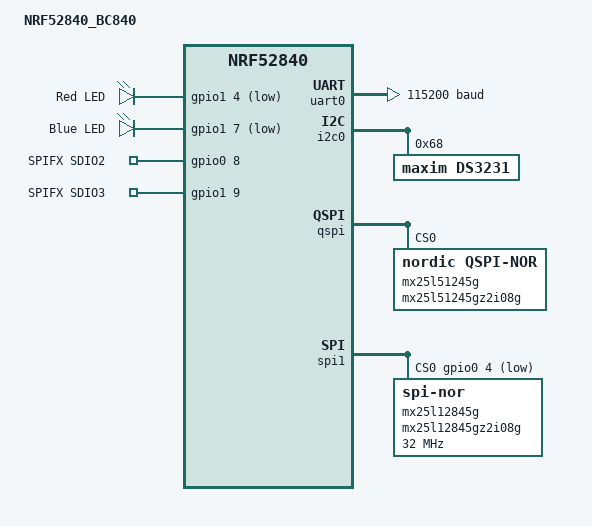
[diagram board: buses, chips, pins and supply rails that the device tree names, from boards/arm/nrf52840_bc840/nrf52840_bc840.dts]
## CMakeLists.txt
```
# SPDX-License-Identifier: Apache-2.0

cmake_minimum_required(VERSION 3.20.0)
find_package(Zephyr REQUIRED HINTS $ENV{ZEPHYR_BASE})
project(littlefs)

target_sources(app PRIVATE 
    src/main.c
    src/nor_flash.c
    src/ds3231.c
    LittleFS/lfs.c
    LittleFS/lfs_util.c
)

target_include_directories(app PRIVATE LittleFS src)

target_compile_definitions(app PRIVATE
    LFS_NO_DEBUG
    LFS_NO_WARN
    LFS_NO_ERROR
)
```

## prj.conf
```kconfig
# Enable SPI
CONFIG_SPI=y

# Enable I2C for DS3231 RTC
CONFIG_I2C=y

# Basic SPI configuration
CONFIG_SPI_ASYNC=y

# Enable GPIO
CONFIG_GPIO=y
CONFIG_GPIO_AS_PINRESET=n

# Clock configuration - external 32kHz crystal from DS3231
CONFIG_CLOCK_CONTROL_NRF_K32SRC_EXT_FULL_SWING=y
CONFIG_CLOCK_CONTROL_NRF_K32SRC_20PPM=y

# Make sure printk is printing to the UART console
CONFIG_CONSOLE=y

# Disable Zephyr's built-in LittleFS since we're using local LittleFS
CONFIG_FILE_SYSTEM=n
CONFIG_FILE_SYSTEM_MKFS=n
CONFIG_FILE_SYSTEM_LITTLEFS=n

# Enable Zephyr flash subsystem for QSPI flash (Flash2)
CONFIG_FLASH=y
CONFIG_FLASH_MAP=n
CONFIG_FLASH_PAGE_LAYOUT=y

# Enable Nordic QSPI NOR driver
CONFIG_NORDIC_QSPI_NOR=y

CONFIG_FPU=y
CONFIG_CBPRINTF_FP_SUPPORT=y

# Enable RTT
CONFIG_USE_SEGGER_RTT=y
CONFIG_RTT_CONSOLE=y
CONFIG_UART_CONSOLE=n

# Enable logging with immediate processing
CONFIG_LOG=y
CONFIG_LOG_BACKEND_RTT=y
CONFIG_LOG_PRINTK=y
CONFIG_LOG_DEFAULT_LEVEL=3
CONFIG_LOG_MODE_IMMEDIATE=y

# Reduce debug noise
CONFIG_SPI_LOG_LEVEL_WRN=y

# Small RTT Buffer - minimal but functional
CONFIG_SEGGER_RTT_BUFFER_SIZE_UP=2048

# Memory configuration
CONFIG_MAIN_STACK_SIZE=4096
CONFIG_HEAP_MEM_POOL_SIZE=4096
CONFIG_SYSTEM_WORKQUEUE_STACK_SIZE=1024

# Enable time functions for struct tm
CONFIG_NEWLIB_LIBC=y
CONFIG_NEWLIB_LIBC_FLOAT_PRINTF=y

# Allow SPIM driver (nRF52840 doesn't have PAN-58, but keep for compatibility)
# CONFIG_SOC_NRF52832_ALLOW_SPIM_DESPITE_PAN_58=y
```

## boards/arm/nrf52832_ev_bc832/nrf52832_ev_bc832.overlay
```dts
/*
 * Device Tree Overlay for Macronix MX25L51245GZ2I-08G NOR Flash
 * boards/nrf52832_ev_bc832.overlay
 */

&pinctrl {
	spi0_flash: spi0_flash {
		group1 {
			psels = <NRF_PSEL(SPIM_SCK, 0, 25)>,
				<NRF_PSEL(SPIM_MOSI, 0, 23)>,
				<NRF_PSEL(SPIM_MISO, 0, 24)>;
		};
	};

	spi0_flash_sleep: spi0_flash_sleep {
		group1 {
			psels = <NRF_PSEL(SPIM_SCK, 0, 25)>,
				<NRF_PSEL(SPIM_MOSI, 0, 23)>,
				<NRF_PSEL(SPIM_MISO, 0, 24)>;
			low-power-enable;
		};
	};
};

&spi0 {
    compatible = "nordic,nrf-spim";
	status = "okay";
	pinctrl-0 = <&spi0_flash>;
	pinctrl-1 = <&spi0_flash_sleep>;
	pinctrl-names = "default", "sleep";

    cs-gpios = <&gpio0 22 GPIO_ACTIVE_LOW>;
};

/*
 * I2C Configuration for DS3231 RTC
 * Adjust pin numbers according to your hardware connection
 */

&pinctrl {
	i2c0_default: i2c0_default {
		group1 {
			psels = <NRF_PSEL(TWIM_SDA, 0, 26)>,
				<NRF_PSEL(TWIM_SCL, 0, 27)>;
		};
	};

	i2c0_sleep: i2c0_sleep {
		group1 {
			psels = <NRF_PSEL(TWIM_SDA, 0, 26)>,
				<NRF_PSEL(TWIM_SCL, 0, 27)>;
			low-power-enable;
		};
	};
};

&i2c0 {
	compatible = "nordic,nrf-twi";
	status = "okay";
	pinctrl-0 = <&i2c0_default>;
	pinctrl-1 = <&i2c0_sleep>;
	pinctrl-names = "default", "sleep";
	clock-frequency = <I2C_BITRATE_FAST>;  /* 400kHz */

	ds3231: ds3231@68 {
		compatible = "maxim,ds3231";
		reg = <0x68>;
		label = "DS3231";
	};
};
```

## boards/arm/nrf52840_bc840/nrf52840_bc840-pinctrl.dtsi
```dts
/*
 * Copyright (c) 2024 Nordic Semiconductor
 * SPDX-License-Identifier: Apache-2.0
 */

&pinctrl {
	/* QSPI pins for mx25l51245gz2i-08g (64MB) */
	qspi_default: qspi_default {
		group1 {
			psels = <NRF_PSEL(QSPI_SCK, 0, 19)>,
				<NRF_PSEL(QSPI_IO0, 1, 1)>,
				<NRF_PSEL(QSPI_IO1, 0, 17)>,
				<NRF_PSEL(QSPI_IO2, 0, 25)>,
				<NRF_PSEL(QSPI_IO3, 0, 22)>,
				<NRF_PSEL(QSPI_CSN, 0, 15)>;
		};
	};

	qspi_sleep: qspi_sleep {
		group1 {
			psels = <NRF_PSEL(QSPI_SCK, 0, 19)>,
				<NRF_PSEL(QSPI_IO0, 1, 1)>,
				<NRF_PSEL(QSPI_IO1, 0, 17)>,
				<NRF_PSEL(QSPI_IO2, 0, 25)>,
				<NRF_PSEL(QSPI_IO3, 0, 22)>,
				<NRF_PSEL(QSPI_CSN, 0, 15)>;
			low-power-enable;
		};
	};

	/* SPIFX pins for mx25l12845gz2i-08g (16MB) - also QSPI mode */
	/* Note: nRF52840 has only one hardware QSPI peripheral, so we use SPI in quad mode */
	spi1_default: spi1_default {
		group1 {
			psels = <NRF_PSEL(SPIM_SCK, 0, 7)>,
				<NRF_PSEL(SPIM_MOSI, 0, 6)>,
				<NRF_PSEL(SPIM_MISO, 0, 12)>;
		};
	};

	spi1_sleep: spi1_sleep {
		group1 {
			psels = <NRF_PSEL(SPIM_SCK, 0, 7)>,
				<NRF_PSEL(SPIM_MOSI, 0, 6)>,
				<NRF_PSEL(SPIM_MISO, 0, 12)>;
			low-power-enable;
		};
	};

	uart0_default: uart0_default {
		group1 {
			psels = <NRF_PSEL(UART_TX, 0, 11)>,
				<NRF_PSEL(UART_RX, 0, 10)>;
		};
	};

	uart0_sleep: uart0_sleep {
		group1 {
			psels = <NRF_PSEL(UART_TX, 0, 11)>,
				<NRF_PSEL(UART_RX, 0, 10)>;
			low-power-enable;
		};
	};

	i2c0_default: i2c0_default {
		group1 {
			psels = <NRF_PSEL(TWIM_SDA, 0, 26)>,
				<NRF_PSEL(TWIM_SCL, 0, 27)>;
		};
	};

	i2c0_sleep: i2c0_sleep {
		group1 {
			psels = <NRF_PSEL(TWIM_SDA, 0, 26)>,
				<NRF_PSEL(TWIM_SCL, 0, 27)>;
			low-power-enable;
		};
	};
};
```

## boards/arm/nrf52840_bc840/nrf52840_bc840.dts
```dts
/*
 * Copyright (c) 2024 Nordic Semiconductor ASA
 * SPDX-License-Identifier: Apache-2.0
 */

/dts-v1/;
#include <nordic/nrf52840_qfaa.dtsi>
#include "nrf52840_bc840-pinctrl.dtsi"

/ {
	model = "NRF52840_BC840";
	compatible = "fanstel,nrf52840-bc840";

	chosen {
		zephyr,console = &uart0;
		zephyr,shell-uart = &uart0;
		zephyr,uart-mcumgr = &uart0;
		zephyr,bt-mon-uart = &uart0;
		zephyr,bt-c2h-uart = &uart0;
		zephyr,sram = &sram0;
		zephyr,flash = &flash0;
		zephyr,code-partition = &slot0_partition;
	};

	leds {
		compatible = "gpio-leds";
		led0: led_0 {
			gpios = <&gpio1 4 GPIO_ACTIVE_LOW>;
			label = "Red LED";
		};
		led1: led_1 {
			gpios = <&gpio1 7 GPIO_ACTIVE_LOW>;
			label = "Blue LED";
		};
	};

	aliases {
		led0 = &led0;
		led1 = &led1;
		redled = &led0;
		blueled = &led1;
		bootloader-led0 = &led0;
		mcuboot-led0 = &led0;
		watchdog0 = &wdt0;
		qspi-flash0 = &mx25l51245g;
		spi-flash0 = &mx25l12845g;
		rtc = &ds3231;
	};

	/* GPIO configuration for SPIFX additional pins (SDIO2 and SDIO3) */
	spifx_extra_gpios {
		compatible = "gpio-keys";
		spifx_io2: spifx_io2 {
			gpios = <&gpio0 8 GPIO_ACTIVE_HIGH>;
			label = "SPIFX SDIO2";
		};
		spifx_io3: spifx_io3 {
			gpios = <&gpio1 9 GPIO_ACTIVE_HIGH>;
			label = "SPIFX SDIO3";
		};
	};
};

&gpiote {
	status = "okay";
};

&gpio0 {
	status = "okay";
};

&gpio1 {
	status = "okay";
};

&uart0 {
	status = "okay";
	compatible = "nordic,nrf-uarte";
	current-speed = <115200>;
	pinctrl-0 = <&uart0_default>;
	pinctrl-1 = <&uart0_sleep>;
	pinctrl-names = "default", "sleep";
};

&i2c0 {
	compatible = "nordic,nrf-twi";
	status = "okay";
	pinctrl-0 = <&i2c0_default>;
	pinctrl-1 = <&i2c0_sleep>;
	pinctrl-names = "default", "sleep";
	
	ds3231: ds3231@68 {
		compatible = "maxim,ds3231";
		reg = <0x68>;
		status = "okay";
	};
};

/* QSPI interface for mx25l51245gz2i-08g (64MB) */
&qspi {
	status = "okay";
	pinctrl-0 = <&qspi_default>;
	pinctrl-1 = <&qspi_sleep>;
	pinctrl-names = "default", "sleep";
	
	mx25l51245g: mx25l51245gz2i08g@0 {
		compatible = "nordic,qspi-nor";
		reg = <0>;
		/* MX25L51245G supports up to 133MHz */
		sck-frequency = <32000000>;
		quad-enable-requirements = "S1B6";
		jedec-id = [c2 20 1a];
		sfdp-bfp = [
			e5 20 f1 ff  ff ff ff 03  44 eb 08 6b  08 3b 04 bb
			ee ff ff ff  ff ff 00 ff  ff ff 00 ff  0c 20 0f 52
			10 d8 00 ff  23 72 f5 00  82 ed 04 cc  44 83 68 44
			30 b0 30 b0  f7 c4 d5 5c  00 be 29 ff  f0 d0 ff ff
		];
		size = <536870912>;  /* 64MB = 512Mbit */
		has-dpd;
		t-enter-dpd = <10000>;
		t-exit-dpd = <35000>;
	};
};

/* SPI1 interface for mx25l12845gz2i-08g (16MB) - will be used in QSPI mode via software */
&spi1 {
	compatible = "nordic,nrf-spi";
	status = "okay";
	cs-gpios = <&gpio0 4 GPIO_ACTIVE_LOW>;
	pinctrl-0 = <&spi1_default>;
	pinctrl-1 = <&spi1_sleep>;
	pinctrl-names = "default", "sleep";
	
	mx25l12845g: mx25l12845gz2i08g@0 {
		compatible = "jedec,spi-nor";
		reg = <0>;
		spi-max-frequency = <32000000>;
		jedec-id = [c2 20 18];
		size = <134217728>;  /* 16MB = 128Mbit */
		has-dpd;
		t-enter-dpd = <10000>;
		t-exit-dpd = <35000>;
	};
};

&flash0 {
	partitions {
		compatible = "fixed-partitions";
		#address-cells = <1>;
		#size-cells = <1>;

		boot_partition: partition@0 {
			label = "mcuboot";
			reg = <0x0 0x10000>;
		};
		slot0_partition: partition@10000 {
			label = "image-0";
			reg = <0x10000 0x70000>;
		};
		slot1_partition: partition@80000 {
			label = "image-1";
			reg = <0x80000 0x70000>;
		};
		scratch_partition: partition@f0000 {
			label = "image-scratch";
			reg = <0xf0000 0x8000>;
		};
		storage_partition: partition@f8000 {
			label = "storage";
			reg = <0xf8000 0x8000>;
		};
	};
};
```

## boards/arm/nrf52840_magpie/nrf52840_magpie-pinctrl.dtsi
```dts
/*
 * Copyright (c) 2024 Nordic Semiconductor
 * SPDX-License-Identifier: Apache-2.0
 */

&pinctrl {
	/* QSPI pins for mx25l51245gz2i-08g (64MB) */
	qspi_default: qspi_default {
		group1 {
			psels = <NRF_PSEL(QSPI_SCK, 0, 19)>,
				<NRF_PSEL(QSPI_IO0, 1, 1)>,
				<NRF_PSEL(QSPI_IO1, 0, 17)>,
				<NRF_PSEL(QSPI_IO2, 0, 25)>,
				<NRF_PSEL(QSPI_IO3, 0, 22)>,
				<NRF_PSEL(QSPI_CSN, 0, 15)>;
		};
	};

	qspi_sleep: qspi_sleep {
		group1 {
			psels = <NRF_PSEL(QSPI_SCK, 0, 19)>,
				<NRF_PSEL(QSPI_IO0, 1, 1)>,
				<NRF_PSEL(QSPI_IO1, 0, 17)>,
				<NRF_PSEL(QSPI_IO2, 0, 25)>,
				<NRF_PSEL(QSPI_IO3, 0, 22)>,
				<NRF_PSEL(QSPI_CSN, 0, 15)>;
			low-power-enable;
		};
	};

	/* SPIFX pins for mx25l12845gz2i-08g (16MB) - also QSPI mode */
	/* Note: nRF52840 has only one hardware QSPI peripheral, so we use SPI in quad mode */
	/* Hardware connections: SDIO0=P0.12 (MOSI), SDIO1=P0.06 (MISO), SCK=P0.07 */
	spi1_default: spi1_default {
		group1 {
			psels = <NRF_PSEL(SPIM_SCK, 0, 7)>,
				<NRF_PSEL(SPIM_MOSI, 0, 12)>,
				<NRF_PSEL(SPIM_MISO, 0, 6)>;
		};
	};

	spi1_sleep: spi1_sleep {
		group1 {
			psels = <NRF_PSEL(SPIM_SCK, 0, 7)>,
				<NRF_PSEL(SPIM_MOSI, 0, 12)>,
				<NRF_PSEL(SPIM_MISO, 0, 6)>;
			low-power-enable;
		};
	};

	uart0_default: uart0_default {
		group1 {
			psels = <NRF_PSEL(UART_TX, 0, 11)>,
				<NRF_PSEL(UART_RX, 0, 10)>;
		};
	};

	uart0_sleep: uart0_sleep {
		group1 {
			psels = <NRF_PSEL(UART_TX, 0, 11)>,
				<NRF_PSEL(UART_RX, 0, 10)>;
			low-power-enable;
		};
	};

	i2c0_default: i2c0_default {
		group1 {
			psels = <NRF_PSEL(TWIM_SDA, 0, 26)>,
				<NRF_PSEL(TWIM_SCL, 0, 27)>;
		};
	};

	i2c0_sleep: i2c0_sleep {
		group1 {
			psels = <NRF_PSEL(TWIM_SDA, 0, 26)>,
				<NRF_PSEL(TWIM_SCL, 0, 27)>;
			low-power-enable;
		};
	};
};
```

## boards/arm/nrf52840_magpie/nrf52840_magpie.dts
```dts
// Copyright (c) 2024 Nordic Semiconductor ASA
// SPDX-License-Identifier: Apache-2.0

/dts-v1/;
#include <nordic/nrf52840_qfaa.dtsi>
#include "nrf52840_magpie-pinctrl.dtsi"

/ {
	model = "nrf52840_magpie";
	compatible = "fanstel,nrf52840-magpie";

	chosen {
		zephyr,console = &uart0;
		zephyr,shell-uart = &uart0;
		zephyr,uart-mcumgr = &uart0;
		zephyr,bt-mon-uart = &uart0;
		zephyr,bt-c2h-uart = &uart0;
		zephyr,sram = &sram0;
		zephyr,flash = &flash0;
		zephyr,code-partition = &slot0_partition;
	};

	leds {
		compatible = "gpio-leds";
		led0: led_0 {
			gpios = <&gpio1 7 GPIO_ACTIVE_LOW>;
			label = "Blue LED 0";
		};
		led1: led_1 {
			gpios = <&gpio1 4 GPIO_ACTIVE_LOW>;
			label = "Red LED 1";
		};
	};

	aliases {
		led0 = &led0;
		led1 = &led1;
		redled = &led1;
		blueled = &led0;
		bootloader-led0 = &led0;
		mcuboot-led0 = &led0;
		watchdog0 = &wdt0;
		qspi-flash0 = &mx25l51245g;
		spi-flash0 = &mx25l12845g;
		rtc = &ds3231;
	};

	/* GPIO configuration for SPIFX additional pins (SDIO2 and SDIO3) */
	spifx_extra_gpios {
		compatible = "gpio-keys";
		spifx_io2: spifx_io2 {
			gpios = <&gpio0 8 GPIO_ACTIVE_HIGH>;
			label = "SPIFX SDIO2";
		};
		spifx_io3: spifx_io3 {
			gpios = <&gpio1 9 GPIO_ACTIVE_HIGH>;
			label = "SPIFX SDIO3";
		};
	};
};

&gpiote {
	status = "okay";
};

&gpio0 {
	status = "okay";
};

&gpio1 {
	status = "okay";
};

&uart0 {
	status = "okay";
	compatible = "nordic,nrf-uarte";
	current-speed = <115200>;
	pinctrl-0 = <&uart0_default>;
	pinctrl-1 = <&uart0_sleep>;
	pinctrl-names = "default", "sleep";
};

&i2c0 {
	compatible = "nordic,nrf-twi";
	status = "okay";
	pinctrl-0 = <&i2c0_default>;
	pinctrl-1 = <&i2c0_sleep>;
	pinctrl-names = "default", "sleep";
	
	ds3231: ds3231@68 {
		compatible = "maxim,ds3231";
		reg = <0x68>;
		status = "okay";
	};
};

/* QSPI interface for mx25l51245gz2i-08g (64MB) */
&qspi {
	status = "okay";
	pinctrl-0 = <&qspi_default>;
	pinctrl-1 = <&qspi_sleep>;
	pinctrl-names = "default", "sleep";
	
	mx25l51245g: mx25l51245gz2i08g@0 {
		compatible = "nordic,qspi-nor";
		reg = <0>;
		/* MX25L51245G supports up to 133MHz */
		sck-frequency = <32000000>;
		quad-enable-requirements = "S1B6";
		jedec-id = [c2 20 1a];
		sfdp-bfp = [
			e5 20 f1 ff  ff ff ff 03  44 eb 08 6b  08 3b 04 bb
			ee ff ff ff  ff ff 00 ff  ff ff 00 ff  0c 20 0f 52
			10 d8 00 ff  23 72 f5 00  82 ed 04 cc  44 83 68 44
			30 b0 30 b0  f7 c4 d5 5c  00 be 29 ff  f0 d0 ff ff
		];
		size = <536870912>;  /* 64MB = 512Mbit */
		has-dpd;
		t-enter-dpd = <10000>;
		t-exit-dpd = <35000>;
	};
};

/* SPI1 interface for mx25l12845gz2i-08g (16MB) - will be used in QSPI mode via software */
&spi1 {
	compatible = "nordic,nrf-spi";
	status = "okay";
	cs-gpios = <&gpio0 4 GPIO_ACTIVE_LOW>;
	pinctrl-0 = <&spi1_default>;
	pinctrl-1 = <&spi1_sleep>;
	pinctrl-names = "default", "sleep";
	
	mx25l12845g: mx25l12845gz2i08g@0 {
		compatible = "jedec,spi-nor";
		reg = <0>;
		spi-max-frequency = <32000000>;
		jedec-id = [c2 20 18];
		size = <134217728>;  /* 16MB = 128Mbit */
		has-dpd;
		t-enter-dpd = <10000>;
		t-exit-dpd = <35000>;
	};
};

&flash0 {
	partitions {
		compatible = "fixed-partitions";
		#address-cells = <1>;
		#size-cells = <1>;

		boot_partition: partition@0 {
			label = "mcuboot";
			reg = <0x0 0x10000>;
		};
		slot0_partition: partition@10000 {
			label = "image-0";
			reg = <0x10000 0x70000>;
		};
		slot1_partition: partition@80000 {
			label = "image-1";
			reg = <0x80000 0x70000>;
		};
		scratch_partition: partition@f0000 {
			label = "image-scratch";
			reg = <0xf0000 0x8000>;
		};
		storage_partition: partition@f8000 {
			label = "storage";
			reg = <0xf8000 0x8000>;
		};
	};
};
```

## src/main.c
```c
/*
 * Copyright (c) 2016 Intel Corporation
 *
 * SPDX-License-Identifier: Apache-2.0
 * Note:
 * Tested on nRF Connect SDK Version : 2.0
 */

#include <zephyr/kernel.h>
#include <zephyr/device.h>
#include <zephyr/devicetree.h>
#include <zephyr/drivers/gpio.h>
#include <zephyr/logging/log.h>
#include <zephyr/pm/pm.h>
#include <zephyr/pm/policy.h>
#include <hal/nrf_gpio.h>
#include <string.h>
#include <stdio.h>
#include <time.h>
#include <errno.h>
#include "nor_flash.h"
#include "ds3231.h"
#include <SEGGER_RTT.h>

/* SLEEP_TIME */
#define SLEEP_TIME_MS 500

/* LED definitions */
#define LED0_NODE DT_ALIAS(led0)
#define LED1_NODE DT_ALIAS(led1)
static const struct gpio_dt_spec blu_led = GPIO_DT_SPEC_GET(LED0_NODE, gpios);
static const struct gpio_dt_spec red_led = GPIO_DT_SPEC_GET(LED1_NODE, gpios);

/* MCU status pin - P1.14 output to indicate nRF52840 is active */
#define MCU_ACTIVE_PIN      14
#define MCU_ACTIVE_PORT     1

/* Wake/sleep pin - P1.13 input from external MCU (HIGH=awake, LOW=sleep) */
#define WAKEUP_PIN          13
#define WAKEUP_PORT         1

static const struct device *gpio1_dev;
static struct gpio_callback wakeup_cb_data;
static volatile bool sleep_requested = false;

LOG_MODULE_REGISTER(main, LOG_LEVEL_DBG);

/* Macro to log and flush RTT buffer with direct RTT write */
#define LOG_INF_FLUSH(fmt, ...) do { \
    char _log_buf[256]; \
    snprintf(_log_buf, sizeof(_log_buf), fmt "\r\n", ##__VA_ARGS__); \
    SEGGER_RTT_WriteString(0, _log_buf); \
    k_msleep(100); \
} while(0)

/* Data structure for setup.bin file */
typedef struct {
    int id;
    char name[20];
    float temperature_c;
    struct tm setDateTime;
} MyData;

/* List of pins to keep configured during init (not set to Hi-Z) */
/* Format: {port, pin} - P1.14 (MCU_ACTIVE output), P1.13 (WAKEUP input), LEDs */
static const struct {
    uint8_t port;
    uint8_t pin;
} init_keep_pins[] = {
    {1, 14},  /* MCU_ACTIVE_PIN - output to external MCU */
    {1, 13},  /* WAKEUP_PIN - input from external MCU */
    {1, 7},   /* LED0 (blue) */
    {1, 4},   /* LED1 (red) */
};

/* List of pins to keep configured during sleep (not set to Hi-Z) */
/* LEDs are set to Hi-Z during sleep to save power */
static const struct {
    uint8_t port;
    uint8_t pin;
} sleep_keep_pins[] = {
    {1, 14},  /* MCU_ACTIVE_PIN - output to external MCU */
    {1, 13},  /* WAKEUP_PIN - input from external MCU */
};

/* Check if a pin should be kept configured during init */
static bool is_init_keep_pin(uint8_t port, uint8_t pin)
{
    for (size_t i = 0; i < ARRAY_SIZE(init_keep_pins); i++) {
        if (init_keep_pins[i].port == port && init_keep_pins[i].pin == pin) {
            return true;
        }
    }
    return false;
}

/* Check if a pin should be kept configured during sleep */
static bool is_sleep_keep_pin(uint8_t port, uint8_t pin)
{
    for (size_t i = 0; i < ARRAY_SIZE(sleep_keep_pins); i++) {
        if (sleep_keep_pins[i].port == port && sleep_keep_pins[i].pin == pin) {
            return true;
        }
    }
    return false;
}

/* Set all GPIO pins to Hi-Z (disconnected) except specified pins for init */
static void disconnect_pins_for_init(void)
{
    /* Disconnect all P0 pins */
    for (uint8_t pin = 0; pin < 32; pin++) {
        if (!is_init_keep_pin(0, pin)) {
            nrf_gpio_cfg_default(NRF_GPIO_PIN_MAP(0, pin));
        }
    }
    
    /* Disconnect all P1 pins */
    for (uint8_t pin = 0; pin < 16; pin++) {
        if (!is_init_keep_pin(1, pin)) {
            nrf_gpio_cfg_default(NRF_GPIO_PIN_MAP(1, pin));
        }
    }
}

/* Set all GPIO pins to Hi-Z (disconnected) except specified pins for sleep */
static void disconnect_pins_for_sleep(void)
{
    /* Disconnect all P0 pins */
    for (uint8_t pin = 0; pin < 32; pin++) {
        if (!is_sleep_keep_pin(0, pin)) {
            nrf_gpio_cfg_default(NRF_GPIO_PIN_MAP(0, pin));
        }
    }
    
    /* Disconnect all P1 pins */
    for (uint8_t pin = 0; pin < 16; pin++) {
        if (!is_sleep_keep_pin(1, pin)) {
            nrf_gpio_cfg_default(NRF_GPIO_PIN_MAP(1, pin));
        }
    }
}

/* Enter deep sleep with GPIO wake-up on P1.13 rising edge */
void enter_deep_sleep(void)
{
    LOG_INF_FLUSH("Preparing for deep sleep...");
    
    /* 5 second countdown with alternating red/blue LED blink each second */
    for (int i = 3; i > 0; i--) {
        LOG_INF_FLUSH("Entering deep sleep in %d...", i);
        
        /* Alternate between red and blue LED each second */
        if (i % 2 == 1) {
            gpio_pin_set_dt(&red_led, 1);
            gpio_pin_set_dt(&blu_led, 0);
        } else {
            gpio_pin_set_dt(&red_led, 0);
            gpio_pin_set_dt(&blu_led, 1);
        }
        k_msleep(1000);
    }
    
    LOG_INF_FLUSH("Disconnecting pins and entering System OFF...");
    
    /* Turn off all LEDs before going to Hi-Z */
    gpio_pin_set_dt(&red_led, 0);
    gpio_pin_set_dt(&blu_led, 0);
    k_msleep(10);  /* Brief delay to ensure LEDs are off */
    
    /* Set MCU_ACTIVE pin low to indicate sleep */
    gpio_pin_set(gpio1_dev, MCU_ACTIVE_PIN, 0);
    
    /* Disconnect all pins except sleep_keep_pins (LEDs will be Hi-Z) */
    disconnect_pins_for_sleep();
    
    /* Configure P1.13 as wake-up source (sense high level, no pull - external MCU drives it) */
    nrf_gpio_cfg_sense_input(NRF_GPIO_PIN_MAP(WAKEUP_PORT, WAKEUP_PIN),
                             NRF_GPIO_PIN_NOPULL,
                             NRF_GPIO_PIN_SENSE_HIGH);
    
    LOG_INF_FLUSH("System in Deep Sleep");
    k_msleep(100);  /* Allow log to flush */
    
    /* Enter System OFF mode - lowest power state
     * Only GPIO DETECT or reset can wake from this state
     * On wake, the system will reset and start from main() */
    NRF_POWER->SYSTEMOFF = 1;
    __DSB();
    
    /* Should never reach here */
    while (1) {
        __WFE();
    }
}

/* Enter deep sleep immediately (no countdown) - used at startup if P1.13 is LOW */
static void enter_deep_sleep_immediate(void)
{
    LOG_INF_FLUSH("P1.13 is LOW at startup - entering deep sleep immediately");
    k_msleep(100);  /* Allow log to flush */
    
    /* Set MCU_ACTIVE pin (P1.14) low to indicate sleep */
    nrf_gpio_pin_clear(NRF_GPIO_PIN_MAP(MCU_ACTIVE_PORT, MCU_ACTIVE_PIN));
    
    /* Configure P1.13 as wake-up source (sense high level) */
    nrf_gpio_cfg_sense_input(NRF_GPIO_PIN_MAP(WAKEUP_PORT, WAKEUP_PIN),
                             NRF_GPIO_PIN_NOPULL,
                             NRF_GPIO_PIN_SENSE_HIGH);
    
    /* Enter System OFF mode */
    NRF_POWER->SYSTEMOFF = 1;
    __DSB();
    
    while (1) {
        __WFE();
    }
}

/* GPIO callback when P1.13 goes LOW - sets flag for main loop to handle */
static void wakeup_pin_callback(const struct device *dev, struct gpio_callback *cb, uint32_t pins)
{
    /* Disable further interrupts to prevent re-entry */
    gpio_pin_interrupt_configure(gpio1_dev, WAKEUP_PIN, GPIO_INT_DISABLE);
    
    /* Set flag - actual sleep will be handled in main loop context */
    sleep_requested = true;
}

int main(void)
{
	int ret;

	/*========================================================================
	 * EARLY INITIALIZATION - Before any peripherals
	 * Set all pins to Hi-Z except P1.13, P1.14, and LEDs
	 *========================================================================*/
	
	/* 2 second delay at startup to allow flashing even if P1.13 is LOW */
	k_msleep(2000);
	
	/* Configure P1.14 as output HIGH (MCU active indicator) using direct nrf_gpio */
	nrf_gpio_cfg_output(NRF_GPIO_PIN_MAP(MCU_ACTIVE_PORT, MCU_ACTIVE_PIN));
	nrf_gpio_pin_set(NRF_GPIO_PIN_MAP(MCU_ACTIVE_PORT, MCU_ACTIVE_PIN));
	
	/* Configure P1.13 as input (wake/sleep signal from external MCU) */
	nrf_gpio_cfg_input(NRF_GPIO_PIN_MAP(WAKEUP_PORT, WAKEUP_PIN), NRF_GPIO_PIN_NOPULL);
	
	/* Set all other pins to Hi-Z except P1.13, P1.14, and LED pins */
	disconnect_pins_for_init();
	
	/* Quick LED blink to show system is alive (Red then Blue) */
	/* LEDs are active low on this board, so we use nrf_gpio directly */
	nrf_gpio_cfg_output(NRF_GPIO_PIN_MAP(1, 4));  /* Red LED P1.04 */
	nrf_gpio_cfg_output(NRF_GPIO_PIN_MAP(1, 7));  /* Blue LED P1.07 */
	
	nrf_gpio_pin_clear(NRF_GPIO_PIN_MAP(1, 4));   /* Red ON */
	k_msleep(150);
	nrf_gpio_pin_set(NRF_GPIO_PIN_MAP(1, 4));     /* Red OFF */
	nrf_gpio_pin_clear(NRF_GPIO_PIN_MAP(1, 7));   /* Blue ON */
	k_msleep(150);
	nrf_gpio_pin_set(NRF_GPIO_PIN_MAP(1, 7));     /* Blue OFF */
	
	/* Check if P1.13 is HIGH - if LOW, go to deep sleep immediately */
	LOG_INF_FLUSH("Checking P1.13 wake signal...");
	
	/* Wait 1 second and verify P1.13 stays HIGH */
	for (int i = 0; i < 10; i++) {
		k_msleep(100);
		if (nrf_gpio_pin_read(NRF_GPIO_PIN_MAP(WAKEUP_PORT, WAKEUP_PIN)) == 0) {
			/* P1.13 is LOW - external MCU wants us to sleep */
			enter_deep_sleep_immediate();
			/* Never returns */
		}
	}
	
	LOG_INF_FLUSH("P1.13 is HIGH - continuing startup");

	/*========================================================================
	 * NORMAL INITIALIZATION
	 *========================================================================*/

	/* Initialize GPIO1 for MCU_ACTIVE and WAKEUP pins */
	gpio1_dev = DEVICE_DT_GET(DT_NODELABEL(gpio1));
	if (!device_is_ready(gpio1_dev)) {
		LOG_ERR("GPIO1 device not ready");
		return -1;
	}

	/* Initialize LEDs */
	if (!gpio_is_ready_dt(&red_led)) {
		LOG_ERR("Red LED device not ready");
		return -1;
	}
	if (!gpio_is_ready_dt(&blu_led)) {
		LOG_ERR("Blue LED device not ready");
		return -1;
	}

	ret = gpio_pin_configure_dt(&red_led, GPIO_OUTPUT_INACTIVE);
	if (ret < 0) {
		LOG_ERR("Failed to configure red LED");
		return -1;
	}
	ret = gpio_pin_configure_dt(&blu_led, GPIO_OUTPUT_INACTIVE);
	if (ret < 0) {
		LOG_ERR("Failed to configure blue LED");
		return -1;
	}

	/* Reconfigure P1.14 using Zephyr GPIO API (already set HIGH via nrf_gpio) */
	ret = gpio_pin_configure(gpio1_dev, MCU_ACTIVE_PIN, GPIO_OUTPUT_HIGH);
	if (ret < 0) {
		LOG_ERR("Failed to configure MCU_ACTIVE pin");
		return -1;
	}

	/* Configure P1.13 as input using Zephyr GPIO API */
	ret = gpio_pin_configure(gpio1_dev, WAKEUP_PIN, GPIO_INPUT);
	if (ret < 0) {
		LOG_ERR("Failed to configure WAKEUP pin");
		return -1;
	}

	/* Set up interrupt callback for P1.13 falling edge (HIGH to LOW triggers sleep) */
	ret = gpio_pin_interrupt_configure(gpio1_dev, WAKEUP_PIN, GPIO_INT_EDGE_TO_INACTIVE);
	if (ret < 0) {
		LOG_ERR("Failed to configure WAKEUP interrupt");
		return -1;
	}

	gpio_init_callback(&wakeup_cb_data, wakeup_pin_callback, BIT(WAKEUP_PIN));
	gpio_add_callback(gpio1_dev, &wakeup_cb_data);

	/* Blink LEDs to show system is starting */
	gpio_pin_set_dt(&red_led, 1);
	k_msleep(200);
	gpio_pin_set_dt(&red_led, 0);
	gpio_pin_set_dt(&blu_led, 1);
	k_msleep(200);
	gpio_pin_set_dt(&blu_led, 0);

	// ******************** DS3231 RTC Initialization **************

	LOG_INF_FLUSH("Initializing DS3231 RTC...");

	struct ds3231_dev *rtc = ds3231_init("I2C_0");
	if (!rtc) {
		LOG_ERR("Failed to initialize DS3231 RTC");
	} else {
		/* Set time to 2026-01-22 10:00:00 AM Thursday */
		struct tm set_time = {
			.tm_year = 2026 - 1900,  /* Years since 1900 */
			.tm_mon = 0,              /* January (0-11) */
			.tm_mday = 22,            /* Day of month */
			.tm_hour = 10,            /* 10:00 AM */
			.tm_min = 0,
			.tm_sec = 0,
			.tm_wday = 4,             /* Thursday (0=Sunday) */
		};

		ret = ds3231_set_datetime(rtc, &set_time);
		if (ret < 0) {
			LOG_ERR("Failed to set DS3231 time: %d", ret);
		} else {
			LOG_INF_FLUSH("DS3231 time set to 2026-01-22 10:00:00 AM");
		}
	}

	// ******************** Little FS test **************

	char write_data[] = "Hello, Dual NOR Flash with LittleFS!";

	LOG_INF_FLUSH("Starting Dual NOR Flash Demo");

	// Initialize the full system with LittleFS
	ret = nor_flash_system_init();
	if (ret != 0) {
		LOG_ERR("System initialization failed");
		return ret;
	}

	// Read test file from FLASH1 - get file size first
	int file_size = nor_flash_get_file_size(FLASH1, "max_test.txt");
	if (file_size > 0) {
		/* Allocate buffer based on file size (+1 for null terminator) */
		char *read_buffer = k_malloc(file_size + 1);
		if (read_buffer != NULL) {
			memset(read_buffer, 0, file_size + 1);
			ret = nor_flash_read_file(FLASH1, "max_test.txt", read_buffer, file_size);
			if (ret >= 0) {
				read_buffer[ret] = '\0';  /* Ensure null termination */
				LOG_INF_FLUSH("Read max_test.txt (%d bytes): %s", ret, read_buffer);
			} else {
				LOG_ERR("Read max_test.txt failed: %d", ret);
			}
			k_free(read_buffer);
		} else {
			LOG_ERR("Failed to allocate %d bytes for max_test.txt", file_size + 1);
		}
	} else if (file_size == 0) {
		LOG_INF_FLUSH("max_test.txt is empty");
	} else {
		LOG_INF_FLUSH("max_test.txt not found or error: %d", file_size);
	}

	// Write nrf_test file to FLASH1 (SPIFX - 16MB)
	ret = nor_flash_write_file(FLASH1, "nrf_test.txt", write_data, strlen(write_data));
	if (ret != 0) {
		LOG_ERR("Write nrf_test.txt failed");
		return ret;
	}

	// Read test file from FLASH1 - dynamic buffer
	file_size = nor_flash_get_file_size(FLASH1, "nrf_test.txt");
	if (file_size > 0) {
		char *read_buffer = k_malloc(file_size + 1);
		if (read_buffer != NULL) {
			memset(read_buffer, 0, file_size + 1);
			ret = nor_flash_read_file(FLASH1, "nrf_test.txt", read_buffer, file_size);
			if (ret >= 0) {
				read_buffer[ret] = '\0';
				LOG_INF_FLUSH("Read nrf_test.txt: %s", read_buffer);

				// Verify data
				if (strcmp(write_data, read_buffer) == 0) {
					LOG_INF_FLUSH("Data verification successful!");
				} else {
					LOG_ERR("Data verification failed!");
				}
			}
			k_free(read_buffer);
		}
	}

	// ******************** Setup.bin struct test **************

	LOG_INF_FLUSH("Reading max_test_data.bin file from FLASH2 (QSPI - 64MB)...");

	MyData readData;
	static char dateTimeStr[128];

	// Direct read of max_test_data.bin file from FLASH2
	ret = nor_flash_read_struct(FLASH2, "max_test_data.bin", &readData, sizeof(MyData));

	if (ret == -ENOENT) {
		LOG_INF_FLUSH("max_test_data.bin file does not exist");
	} else if (ret < 0) {
		LOG_ERR("Failed to read max_test_data.bin file: error %d", ret);
	} else {
		snprintf(dateTimeStr, sizeof(dateTimeStr), "%04d-%02d-%02d %02d:%02d:%02dZ", 
			 readData.setDateTime.tm_year + 1900,
			 readData.setDateTime.tm_mon + 1,
			 readData.setDateTime.tm_mday,
			 readData.setDateTime.tm_hour,
			 readData.setDateTime.tm_min,
			 readData.setDateTime.tm_sec);

		LOG_INF_FLUSH("MAX Setup Data Read Successfully:");
		LOG_INF_FLUSH("  ID: %d", readData.id);
		LOG_INF_FLUSH("  Name: %s", readData.name);
		LOG_INF_FLUSH("  Temperature: %.1fC", (double)readData.temperature_c);
		LOG_INF_FLUSH("  Date/Time: %s", dateTimeStr);
		k_msleep(50);
	}

	LOG_INF_FLUSH("Writing nrf_test_data.bin file to FLASH2 (QSPI - 64MB)...");

	MyData writeData = {
		.id = 42,
		.name = "NRF Write",
		.temperature_c = 23.5,
	};
	time_t now = time(NULL);
	gmtime_r(&now, &writeData.setDateTime);

	ret = nor_flash_write_struct(FLASH2, "nrf_test_data.bin", &writeData, sizeof(MyData));
	if (ret != 0) {
		LOG_ERR("Failed to write nrf_test_data.bin file: error %d", ret);
	} else {
		LOG_INF_FLUSH("nrf_test_data.bin file written successfully to FLASH2");
	}

	LOG_INF_FLUSH("Reading nrf_test_data.bin file from FLASH2...");

	ret = nor_flash_read_struct(FLASH2, "nrf_test_data.bin", &readData, sizeof(MyData));

	if (ret == -ENOENT) {
		LOG_INF_FLUSH("nrf_test_data.bin file does not exist");
	} else if (ret < 0) {
		LOG_ERR("Failed to read nrf_test_data.bin file: error %d", ret);
	} else {
		snprintf(dateTimeStr, sizeof(dateTimeStr), "%04d-%02d-%02d %02d:%02d:%02dZ", 
			 readData.setDateTime.tm_year + 1900,
			 readData.setDateTime.tm_mon + 1,
			 readData.setDateTime.tm_mday,
			 readData.setDateTime.tm_hour,
			 readData.setDateTime.tm_min,
			 readData.setDateTime.tm_sec);

		LOG_INF_FLUSH("NRF Setup Data Read Successfully:");
		LOG_INF_FLUSH("  ID: %d", readData.id);
		LOG_INF_FLUSH("  Name: %s", readData.name);
		LOG_INF_FLUSH("  Temperature: %.1f C", (double)readData.temperature_c);
		LOG_INF_FLUSH("  Date/Time: %s", dateTimeStr);
		k_msleep(50);
	}

	// ******************** End of Little FS test **************

	// ******************** DS3231 RTC Read Time **************

	if (rtc) {
		struct tm current_time;
		ret = ds3231_get_datetime(rtc, &current_time);
		if (ret < 0) {
			LOG_ERR("Failed to read DS3231 time: %d", ret);
		} else {
			LOG_INF_FLUSH("DS3231 Current Time: %04d-%02d-%02d %02d:%02d:%02d",
				current_time.tm_year + 1900,
				current_time.tm_mon + 1,
				current_time.tm_mday,
				current_time.tm_hour,
				current_time.tm_min,
				current_time.tm_sec);
		}
	}

	// ******************** End of DS3231 RTC Read **************

	LOG_INF_FLUSH("All tests completed successfully!");
	LOG_INF_FLUSH("System running - P1.13 LOW will trigger deep sleep");
	k_msleep(200);

	/* Main loop - blink blue LED periodically */
	while (1) {
		/* Check if sleep was requested via P1.13 interrupt */
		if (sleep_requested) {
			LOG_INF_FLUSH("Sleep signal received (P1.13 went LOW)");
			enter_deep_sleep();
			/* Never returns */
		}
		
		gpio_pin_toggle_dt(&blu_led);
		k_msleep(SLEEP_TIME_MS);
	}
}
```

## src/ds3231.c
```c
/*
 * DS3231 RTC Driver Implementation
 * I2C Real-Time Clock with Temperature Compensated Crystal Oscillator
 */

#include "ds3231.h"
#include <zephyr/logging/log.h>
#include <errno.h>

LOG_MODULE_REGISTER(ds3231, LOG_LEVEL_DBG);

/* Helper function to convert decimal to BCD */
static uint8_t dec_to_bcd(uint8_t val)
{
    return ((val / 10) << 4) | (val % 10);
}

/* Helper function to convert BCD to decimal */
static uint8_t bcd_to_dec(uint8_t val)
{
    return ((val >> 4) * 10) + (val & 0x0F);
}

/* Write a single register */
static int ds3231_write_reg(struct ds3231_dev *dev, uint8_t reg, uint8_t val)
{
    uint8_t buf[2] = {reg, val};
    return i2c_write(dev->i2c_dev, buf, sizeof(buf), dev->i2c_addr);
}

/* Read a single register */
static int ds3231_read_reg(struct ds3231_dev *dev, uint8_t reg, uint8_t *val)
{
    return i2c_write_read(dev->i2c_dev, dev->i2c_addr, &reg, 1, val, 1);
}

/* Read multiple registers */
static int ds3231_read_regs(struct ds3231_dev *dev, uint8_t reg, uint8_t *buf, uint8_t len)
{
    return i2c_write_read(dev->i2c_dev, dev->i2c_addr, &reg, 1, buf, len);
}

struct ds3231_dev *ds3231_init(const char *i2c_label)
{
    struct ds3231_dev *dev;
    uint8_t ctrl_reg;
    int ret;

    (void)i2c_label;  /* Unused - kept for API compatibility */

    dev = k_malloc(sizeof(struct ds3231_dev));
    if (!dev) {
        LOG_ERR("Failed to allocate memory for DS3231 device");
        return NULL;
    }

    /* Use devicetree API for SDK 2.x */
    dev->i2c_dev = DEVICE_DT_GET(DT_NODELABEL(i2c0));
    if (!device_is_ready(dev->i2c_dev)) {
        LOG_ERR("I2C device not ready");
        k_free(dev);
        return NULL;
    }

    dev->i2c_addr = DS3231_I2C_ADDR;

    /* Enable oscillator and set to 24-hour mode */
    ret = ds3231_read_reg(dev, DS3231_REG_CONTROL, &ctrl_reg);
    if (ret < 0) {
        LOG_ERR("Failed to read control register: %d", ret);
        k_free(dev);
        return NULL;
    }

    /* Clear EOSC bit to enable oscillator */
    ctrl_reg &= ~DS3231_CTRL_EOSC;
    ret = ds3231_write_reg(dev, DS3231_REG_CONTROL, ctrl_reg);
    if (ret < 0) {
        LOG_ERR("Failed to write control register: %d", ret);
        k_free(dev);
        return NULL;
    }

    LOG_INF("DS3231 initialized successfully");
    return dev;
}

int ds3231_set_datetime(struct ds3231_dev *dev, const struct tm *tm)
{
    uint8_t buf[8];
    int ret;

    if (!dev || !tm) {
        return -EINVAL;
    }

    /* Prepare time/date data in BCD format */
    buf[0] = DS3231_REG_SECONDS;
    buf[1] = dec_to_bcd(tm->tm_sec);
    buf[2] = dec_to_bcd(tm->tm_min);
    buf[3] = dec_to_bcd(tm->tm_hour);  /* 24-hour format */
    buf[4] = dec_to_bcd(tm->tm_wday + 1);  /* Day of week: 1-7 */
    buf[5] = dec_to_bcd(tm->tm_mday);
    buf[6] = dec_to_bcd(tm->tm_mon + 1);  /* Month: 1-12 */
    buf[7] = dec_to_bcd(tm->tm_year % 100);  /* Year: 00-99 */

    /* Write all time/date registers in one transaction */
    ret = i2c_write(dev->i2c_dev, buf, sizeof(buf), dev->i2c_addr);
    if (ret < 0) {
        LOG_ERR("Failed to set datetime: %d", ret);
        return ret;
    }

    LOG_INF("DateTime set: %04d-%02d-%02d %02d:%02d:%02d",
            tm->tm_year + 1900, tm->tm_mon + 1, tm->tm_mday,
            tm->tm_hour, tm->tm_min, tm->tm_sec);

    return 0;
}

int ds3231_get_datetime(struct ds3231_dev *dev, struct tm *tm)
{
    uint8_t buf[7];
    int ret;

    if (!dev || !tm) {
        return -EINVAL;
    }

    /* Read all time/date registers */
    ret = ds3231_read_regs(dev, DS3231_REG_SECONDS, buf, sizeof(buf));
    if (ret < 0) {
        LOG_ERR("Failed to read datetime: %d", ret);
        return ret;
    }

    /* Convert BCD to decimal and populate tm structure */
    tm->tm_sec = bcd_to_dec(buf[0] & 0x7F);
    tm->tm_min = bcd_to_dec(buf[1] & 0x7F);
    tm->tm_hour = bcd_to_dec(buf[2] & 0x3F);  /* 24-hour format */
    tm->tm_wday = bcd_to_dec(buf[3] & 0x07) - 1;  /* Day of week: 0-6 */
    tm->tm_mday = bcd_to_dec(buf[4] & 0x3F);
    tm->tm_mon = bcd_to_dec(buf[5] & 0x1F) - 1;  /* Month: 0-11 */
    tm->tm_year = bcd_to_dec(buf[6]) + 100;  /* Years since 1900 */

    /* Calculate day of year (not stored in DS3231) */
    tm->tm_yday = 0;
    tm->tm_isdst = -1;

    LOG_DBG("DateTime read: %04d-%02d-%02d %02d:%02d:%02d",
            tm->tm_year + 1900, tm->tm_mon + 1, tm->tm_mday,
            tm->tm_hour, tm->tm_min, tm->tm_sec);

    return 0;
}

int ds3231_get_temperature(struct ds3231_dev *dev, float *temp_c)
{
    uint8_t buf[2];
    int ret;
    int16_t temp_raw;

    if (!dev || !temp_c) {
        return -EINVAL;
    }

    /* Read temperature registers */
    ret = ds3231_read_regs(dev, DS3231_REG_TEMP_MSB, buf, sizeof(buf));
    if (ret < 0) {
        LOG_ERR("Failed to read temperature: %d", ret);
        return ret;
    }

    /* Temperature is 10-bit: MSB (8 bits) + 2 bits from LSB */
    temp_raw = (int16_t)((buf[0] << 8) | buf[1]) >> 6;
    
    /* Convert to Celsius (resolution: 0.25°C) */
    *temp_c = temp_raw * 0.25f;

    LOG_DBG("Temperature: %.2f°C", (double)*temp_c);

    return 0;
}

int ds3231_check_oscillator(struct ds3231_dev *dev, bool *stopped)
{
    uint8_t status;
    int ret;

    if (!dev || !stopped) {
        return -EINVAL;
    }

    ret = ds3231_read_reg(dev, DS3231_REG_STATUS, &status);
    if (ret < 0) {
        LOG_ERR("Failed to read status register: %d", ret);
        return ret;
    }

    *stopped = (status & DS3231_STATUS_OSF) != 0;

    if (*stopped) {
        LOG_WRN("Oscillator has stopped - time may be invalid");
        
        /* Clear OSF flag */
        status &= ~DS3231_STATUS_OSF;
        ret = ds3231_write_reg(dev, DS3231_REG_STATUS, status);
        if (ret < 0) {
            LOG_ERR("Failed to clear OSF flag: %d", ret);
            return ret;
        }
    }

    return 0;
}
```

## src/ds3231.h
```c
/*
 * DS3231 RTC Driver Header
 * I2C Real-Time Clock with Temperature Compensated Crystal Oscillator
 */

#ifndef DS3231_H
#define DS3231_H

#include <zephyr/kernel.h>
#include <zephyr/device.h>
#include <zephyr/drivers/i2c.h>
#include <time.h>

/* DS3231 I2C Address */
#define DS3231_I2C_ADDR 0x68

/* DS3231 Register Addresses */
#define DS3231_REG_SECONDS      0x00
#define DS3231_REG_MINUTES      0x01
#define DS3231_REG_HOURS        0x02
#define DS3231_REG_DAY          0x03
#define DS3231_REG_DATE         0x04
#define DS3231_REG_MONTH        0x05
#define DS3231_REG_YEAR         0x06
#define DS3231_REG_CONTROL      0x0E
#define DS3231_REG_STATUS       0x0F
#define DS3231_REG_TEMP_MSB     0x11

/* Control Register Bits */
#define DS3231_CTRL_EOSC        (1 << 7)
#define DS3231_CTRL_INTCN       (1 << 2)

/* Status Register Bits */
#define DS3231_STATUS_OSF       (1 << 7)

/* DS3231 Device Structure */
struct ds3231_dev {
    const struct device *i2c_dev;
    uint16_t i2c_addr;
};

/**
 * @brief Initialize DS3231 RTC
 * 
 * @param i2c_label I2C device label (e.g., "I2C_0")
 * @return Pointer to ds3231_dev structure, or NULL on failure
 */
struct ds3231_dev *ds3231_init(const char *i2c_label);

/**
 * @brief Set date and time on DS3231
 * 
 * @param dev Pointer to DS3231 device structure
 * @param tm Pointer to tm structure containing date/time
 * @return 0 on success, negative error code on failure
 */
int ds3231_set_datetime(struct ds3231_dev *dev, const struct tm *tm);

/**
 * @brief Get date and time from DS3231
 * 
 * @param dev Pointer to DS3231 device structure
 * @param tm Pointer to tm structure to store date/time
 * @return 0 on success, negative error code on failure
 */
int ds3231_get_datetime(struct ds3231_dev *dev, struct tm *tm);

/**
 * @brief Get temperature from DS3231
 * 
 * @param dev Pointer to DS3231 device structure
 * @param temp_c Pointer to store temperature in Celsius
 * @return 0 on success, negative error code on failure
 */
int ds3231_get_temperature(struct ds3231_dev *dev, float *temp_c);

/**
 * @brief Check if oscillator has stopped
 * 
 * @param dev Pointer to DS3231 device structure
 * @param stopped Pointer to store result (true if stopped)
 * @return 0 on success, negative error code on failure
 */
int ds3231_check_oscillator(struct ds3231_dev *dev, bool *stopped);

#endif /* DS3231_H */
```

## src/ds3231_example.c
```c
/*
 * DS3231 RTC Driver Usage Example
 * 
 * This file demonstrates how to use the DS3231 driver from main.c
 */

#include "ds3231.h"
#include <zephyr/logging/log.h>
#include <time.h>

LOG_MODULE_REGISTER(ds3231_example, LOG_LEVEL_INF);

/* Example 1: Initialize and set the current date/time */
void example_set_datetime(void)
{
    struct ds3231_dev *rtc;
    struct tm datetime;
    int ret;

    /* Initialize DS3231 on I2C_0 (adjust label as needed) */
    rtc = ds3231_init("I2C_0");
    if (!rtc) {
        LOG_ERR("Failed to initialize DS3231");
        return;
    }

    /* Set date/time: 2026-01-18 14:30:00 Saturday */
    datetime.tm_year = 2026 - 1900;  /* Years since 1900 */
    datetime.tm_mon = 0;              /* January (0-11) */
    datetime.tm_mday = 18;            /* Day of month (1-31) */
    datetime.tm_hour = 14;            /* Hour (0-23) */
    datetime.tm_min = 30;             /* Minute (0-59) */
    datetime.tm_sec = 0;              /* Second (0-59) */
    datetime.tm_wday = 6;             /* Saturday (0=Sunday, 6=Saturday) */

    ret = ds3231_set_datetime(rtc, &datetime);
    if (ret < 0) {
        LOG_ERR("Failed to set datetime: %d", ret);
        return;
    }

    LOG_INF("Date/time set successfully");
}

/* Example 2: Read the current date/time */
void example_get_datetime(void)
{
    struct ds3231_dev *rtc;
    struct tm datetime;
    int ret;
    bool osc_stopped;

    /* Initialize DS3231 */
    rtc = ds3231_init("I2C_0");
    if (!rtc) {
        LOG_ERR("Failed to initialize DS3231");
        return;
    }

    /* Check if oscillator has stopped (power loss) */
    ret = ds3231_check_oscillator(rtc, &osc_stopped);
    if (ret < 0) {
        LOG_ERR("Failed to check oscillator: %d", ret);
        return;
    }

    if (osc_stopped) {
        LOG_WRN("Oscillator was stopped - time may be invalid!");
    }

    /* Read current date/time */
    ret = ds3231_get_datetime(rtc, &datetime);
    if (ret < 0) {
        LOG_ERR("Failed to get datetime: %d", ret);
        return;
    }

    /* Display the date/time */
    LOG_INF("Current Date/Time: %04d-%02d-%02d %02d:%02d:%02d",
            datetime.tm_year + 1900,
            datetime.tm_mon + 1,
            datetime.tm_mday,
            datetime.tm_hour,
            datetime.tm_min,
            datetime.tm_sec);
}

/* Example 3: Read temperature from DS3231 */
void example_get_temperature(void)
{
    struct ds3231_dev *rtc;
    float temperature;
    int ret;

    /* Initialize DS3231 */
    rtc = ds3231_init("I2C_0");
    if (!rtc) {
        LOG_ERR("Failed to initialize DS3231");
        return;
    }

    /* Read temperature */
    ret = ds3231_get_temperature(rtc, &temperature);
    if (ret < 0) {
        LOG_ERR("Failed to get temperature: %d", ret);
        return;
    }

    LOG_INF("Temperature: %.2f°C", (double)temperature);
}

/* Example 4: Complete usage in main loop */
void example_main_loop(void)
{
    struct ds3231_dev *rtc;
    struct tm datetime;
    float temperature;
    int ret;

    /* Initialize DS3231 once at startup */
    rtc = ds3231_init("I2C_0");
    if (!rtc) {
        LOG_ERR("Failed to initialize DS3231");
        return;
    }

    /* Set initial time (do this once) */
    datetime.tm_year = 2026 - 1900;
    datetime.tm_mon = 0;
    datetime.tm_mday = 18;
    datetime.tm_hour = 14;
    datetime.tm_min = 30;
    datetime.tm_sec = 0;
    datetime.tm_wday = 6;

    ret = ds3231_set_datetime(rtc, &datetime);
    if (ret < 0) {
        LOG_ERR("Failed to set datetime");
        return;
    }

    /* Main loop - read time and temperature periodically */
    while (1) {
        /* Read current time */
        ret = ds3231_get_datetime(rtc, &datetime);
        if (ret == 0) {
            LOG_INF("Time: %02d:%02d:%02d",
                    datetime.tm_hour,
                    datetime.tm_min,
                    datetime.tm_sec);
        }

        /* Read temperature */
        ret = ds3231_get_temperature(rtc, &temperature);
        if (ret == 0) {
            LOG_INF("Temp: %.2f°C", (double)temperature);
        }

        /* Wait 10 seconds */
        k_msleep(10000);
    }
}
```

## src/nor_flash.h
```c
/*
 * Generic NOR Flash Driver with LittleFS Support
 * Header File
 * 
 * Supports dual flash configuration with compile-time size selection:
 * - Flash1 (SPIFX): SPI1 interface in QSPI mode - configurable size (default: 16MB)
 * - Flash2 (QSPI): Hardware QSPI interface - configurable size (default: 64MB)
 * 
 * Configure flash sizes in CMakeLists.txt:
 * - FLASH1_SIZE_MB: 64, 32, or 16 (default: 16)
 * - FLASH2_SIZE_MB: 64, 32, or 16 (default: 64)
 */

#ifndef NOR_FLASH_H
#define NOR_FLASH_H

#include <zephyr/kernel.h>

#ifdef __cplusplus
extern "C" {
#endif

/* Flash size configuration - set via CMakeLists.txt */
#ifndef FLASH1_SIZE_MB
#define FLASH1_SIZE_MB 16  /* Default: 16MB for Flash1 (SPIFX/SPI1) */
#endif

#ifndef FLASH2_SIZE_MB
#define FLASH2_SIZE_MB 64  /* Default: 64MB for Flash2 (QSPI hardware) */
#endif

/* Calculate flash parameters based on size */
#if FLASH1_SIZE_MB == 64
#define FLASH1_CHIP_NAME         "MX25L51245GZ2I-08G"
#define FLASH1_CHIP_SIZE_BYTES   67108864UL
#define FLASH1_CHIP_JEDEC_ID     0xC2201A
#elif FLASH1_SIZE_MB == 32
#define FLASH1_CHIP_NAME         "MX25L25645GZ2I-08G"
#define FLASH1_CHIP_SIZE_BYTES   33554432UL
#define FLASH1_CHIP_JEDEC_ID     0xC22019
#elif FLASH1_SIZE_MB == 16
#define FLASH1_CHIP_NAME         "MX25L12845GZ2I-08G"
#define FLASH1_CHIP_SIZE_BYTES   16777216UL
#define FLASH1_CHIP_JEDEC_ID     0xC22018
#else
#error "FLASH1_SIZE_MB must be 64, 32, or 16"
#endif

#if FLASH2_SIZE_MB == 64
#define FLASH2_CHIP_NAME         "MX25L51245GZ2I-08G"
#define FLASH2_CHIP_SIZE_BYTES   67108864UL
#define FLASH2_CHIP_JEDEC_ID     0xC2201A
#elif FLASH2_SIZE_MB == 32
#define FLASH2_CHIP_NAME         "MX25L25645GZ2I-08G"
#define FLASH2_CHIP_SIZE_BYTES   33554432UL
#define FLASH2_CHIP_JEDEC_ID     0xC22019
#elif FLASH2_SIZE_MB == 16
#define FLASH2_CHIP_NAME         "MX25L12845GZ2I-08G"
#define FLASH2_CHIP_SIZE_BYTES   16777216UL
#define FLASH2_CHIP_JEDEC_ID     0xC22018
#else
#error "FLASH2_SIZE_MB must be 64, 32, or 16"
#endif

/* Common flash parameters */
#define FLASH_PAGE_SIZE          256
#define FLASH_SECTOR_SIZE        4096
#define FLASH_BLOCK_SIZE_32K     32768
#define FLASH_BLOCK_SIZE_64K     65536

/* Flash selection for operations */
typedef enum {
    FLASH1 = 0,    /* SPIFX interface (SPI1 in QSPI mode) - default 16MB */
    FLASH2 = 1     /* QSPI interface (hardware QSPI) - default 64MB */
} flash_device_t;

/* Public API Functions */
int nor_flash_system_init(void);
int nor_flash_basic_init(void);
int nor_flash_basic_test(void);

/* File operations - specify which flash device to use */
int nor_flash_write_file(flash_device_t device, const char *filename, const void *data, size_t len);
int nor_flash_read_file(flash_device_t device, const char *filename, void *buffer, size_t len);
int nor_flash_write_struct(flash_device_t device, const char *filename, const void *data, size_t size);
int nor_flash_read_struct(flash_device_t device, const char *filename, void *buffer, size_t size);

/* Get flash device info */
const char* nor_flash_get_device_name(flash_device_t device);
uint32_t nor_flash_get_device_size(flash_device_t device);

/* Get file size (returns size in bytes, or negative error code) */
int nor_flash_get_file_size(flash_device_t device, const char *filename);

#ifdef __cplusplus
}
#endif

#endif /* NOR_FLASH_H */
```
